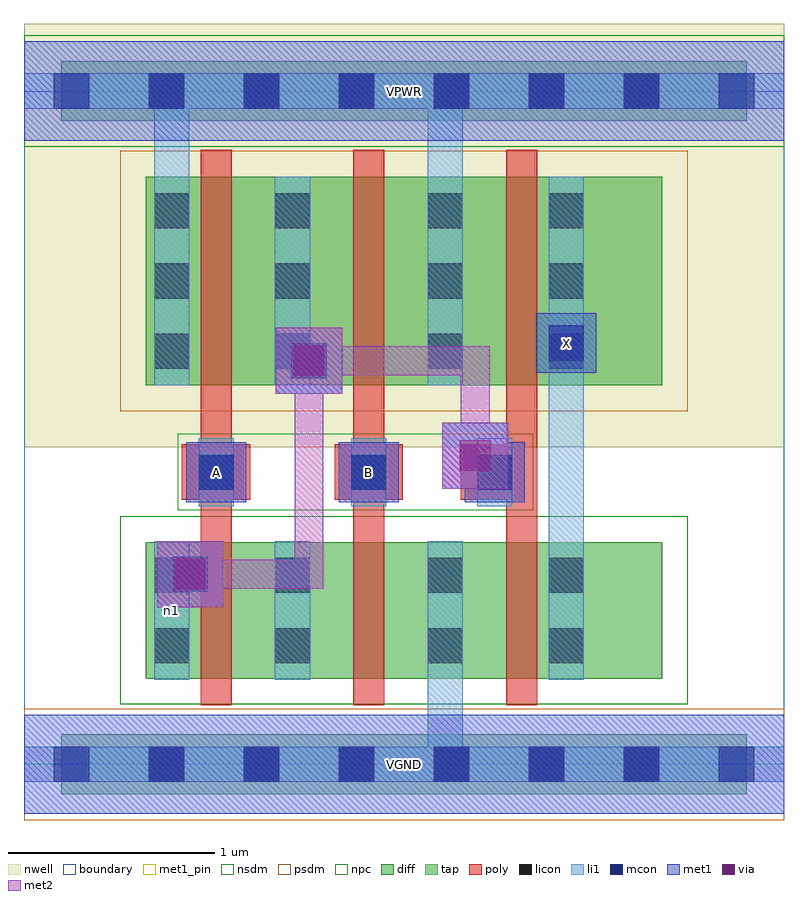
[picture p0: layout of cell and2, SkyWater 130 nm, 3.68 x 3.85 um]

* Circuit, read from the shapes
.subckt and2 A B VGND VPWR X n1
XM1 n2 A n1 VGND sky130_fd_pr__nfet_01v8 w=0.66 l=0.15
XM2 VGND B n2 VGND sky130_fd_pr__nfet_01v8 w=0.66 l=0.15
XM3 X n1 VGND VGND sky130_fd_pr__nfet_01v8 w=0.66 l=0.15
XM4 n1 A VPWR VPWR sky130_fd_pr__pfet_01v8 w=1.01 l=0.15
XM5 VPWR B n1 VPWR sky130_fd_pr__pfet_01v8 w=1.01 l=0.15
XM6 X n1 VPWR VPWR sky130_fd_pr__pfet_01v8 w=1.01 l=0.15
.ends

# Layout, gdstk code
import gdstk
lib = gdstk.Library(unit=1e-6, precision=1e-09)
def R(c, l, rs):  # rectangles x0, y0, x1, y1
    for r in rs: c.add(gdstk.rectangle(r[:2], r[2:], *l))
def A(c, l, x, y, w, h, nx, ny, dx, dy):  # array of equal rectangles
    R(c, l, [(x+i*dx, y+j*dy, x+i*dx+w, y+j*dy+h) for i in range(nx) for j in range(ny)])
nwell = (64, 20)
diff = (65, 20)
tap = (65, 44)
poly = (66, 20)
licon = (66, 44)
li1 = (67, 20)
mcon = (67, 44)
met1_pin = (68, 16)
met1 = (68, 20)
via = (68, 44)
met2 = (69, 20)
nsdm = (93, 44)
psdm = (94, 20)
npc = (95, 20)
boundary = (235, 4)

and2 = lib.new_cell('and2')
R(and2, nwell, [(0,1.535,3.68,3.585)])
R(and2, diff, [(0.59,0.415,3.09,1.075), (0.59,1.835,3.09,2.845)])
R(and2, tap, [(0.18,-0.145,3.5,0.145), (0.18,3.115,3.5,3.405)])
A(and2, poly, 0.855, 0.285, 0.15, 2.69, 3, 1, 0.74, 0)
R(and2, poly, [(0.765,1.28,1.095,1.55), (1.505,1.28,1.835,1.55), (2.115,1.28,2.445,1.55)])
A(and2, licon, 0.605, -0.085, 0.17, 0.17, 6, 2, 0.46, 3.26)
A(and2, licon, 0.63, 1.915, 0.17, 0.17, 1, 3, 0, 0.34)
A(and2, licon, 1.215, 1.915, 0.17, 0.17, 1, 3, 0, 0.34)
A(and2, licon, 1.955, 1.915, 0.17, 0.17, 1, 3, 0, 0.34)
A(and2, licon, 2.54, 1.915, 0.17, 0.17, 1, 3, 0, 0.34)
R(and2, licon, [(0.63,0.49,0.8,0.66), (1.215,0.49,1.385,0.66), (1.955,0.49,2.125,0.66), (2.54,0.49,2.71,0.66), (0.63,0.83,0.8,1), (1.215,0.83,1.385,1), (1.955,0.83,2.125,1), (2.54,0.83,2.71,1), (0.845,1.33,1.015,1.5), (1.585,1.33,1.755,1.5), (2.195,1.33,2.365,1.5)])
R(and2, li1, [(0,-0.085,3.68,0.085), (1.955,-0.085,2.125,1.08), (0.63,0.41,0.8,1.08), (1.215,0.41,1.385,1.08), (1.955,0.41,2.125,1.08), (2.54,0.41,2.71,1.08), (2.54,0.41,2.71,2.845), (0.63,0.835,0.89,1.005), (0.845,1.25,1.015,1.58), (1.585,1.25,1.755,1.58), (2.195,1.25,2.365,1.58), (0.63,1.835,0.8,2.845), (0.63,1.835,0.8,3.345), (1.215,1.835,1.385,2.845), (1.955,1.835,2.125,2.845), (1.955,1.835,2.125,3.345), (2.54,1.835,2.71,2.845), (1.215,1.87,1.465,2.04), (0,3.175,3.68,3.345)])
A(and2, mcon, 0.145, -0.085, 0.17, 0.17, 8, 2, 0.46, 3.26)
R(and2, mcon, [(0.72,0.835,0.89,1.005), (0.845,1.33,1.015,1.5), (1.585,1.33,1.755,1.5), (2.195,1.33,2.365,1.5), (1.295,1.87,1.465,2.04), (2.54,1.955,2.71,2.125)])
R(and2, met1_pin, [(0,-0.24,3.68,0.24), (0.785,1.27,1.075,1.56), (1.525,1.27,1.815,1.56), (2.48,1.895,2.77,2.185), (0,3.02,3.68,3.5)])
R(and2, met1, [(0,-0.24,3.68,0.24), (0.645,0.76,0.965,1.08), (0.66,0.775,0.95,1.065), (0.785,1.27,1.075,1.56), (1.525,1.27,1.815,1.56), (2.135,1.27,2.425,1.56), (2.025,1.335,2.345,1.655), (1.22,1.795,1.54,2.115), (1.235,1.81,1.525,2.1), (2.48,1.895,2.77,2.185), (0,3.02,3.68,3.5)])
R(and2, via, [(0.73,0.845,0.88,0.995), (2.11,1.42,2.26,1.57), (1.305,1.88,1.455,2.03)])
R(and2, met2, [(0.645,0.76,0.965,1.08), (0.735,0.85,1.45,0.99), (1.31,0.85,1.45,2.025), (2.025,1.335,2.345,1.655), (2.115,1.425,2.255,2.025), (1.22,1.795,1.54,2.115), (1.31,1.885,2.255,2.025)])
R(and2, nsdm, [(0.465,0.29,3.215,1.2), (0,2.99,3.68,3.53)])
R(and2, psdm, [(0,-0.27,3.68,0.27), (0.465,1.71,3.215,2.97)])
R(and2, npc, [(0.745,1.23,2.465,1.6)])
R(and2, boundary, [(0,0,3.68,3.26)])
and2.add(gdstk.Label('n1', (0.715,0.745), layer=67, texttype=5))
and2.add(gdstk.Label('X', (2.625,2.04), layer=68, texttype=5))
and2.add(gdstk.Label('A', (0.93,1.415), layer=68, texttype=5))
and2.add(gdstk.Label('B', (1.67,1.415), layer=68, texttype=5))
and2.add(gdstk.Label('VPWR', (1.84,3.26), layer=68, texttype=5))
and2.add(gdstk.Label('VGND', (1.84,0), layer=68, texttype=5))
and2.add(gdstk.Label('X', (2.625,2.04), layer=68, texttype=16))
and2.add(gdstk.Label('A', (0.93,1.415), layer=68, texttype=16))
and2.add(gdstk.Label('B', (1.67,1.415), layer=68, texttype=16))
and2.add(gdstk.Label('VPWR', (1.84,3.26), layer=68, texttype=16))
and2.add(gdstk.Label('VGND', (1.84,0), layer=68, texttype=16))

lib.write_gds('and2.gds')
